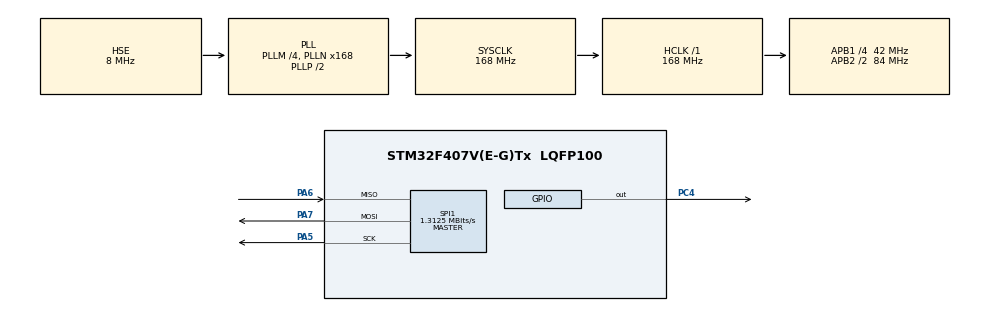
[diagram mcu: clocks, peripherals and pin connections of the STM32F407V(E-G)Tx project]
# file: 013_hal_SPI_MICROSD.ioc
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FATFS._MAX_SS=4096
FATFS._USE_LFN=1
Mcu.Family=STM32F4
Mcu.Name=STM32F407V(E-G)Tx
Mcu.Package=LQFP100
NVIC.PriorityGroup=NVIC_PRIORITYGROUP_4
PA13.Mode=Serial_Wire
PA13.Signal=SYS_JTMS-SWDIO
PA14.Mode=Serial_Wire
PA14.Signal=SYS_JTCK-SWCLK
PA5.Mode=Full_Duplex_Master
PA5.Signal=SPI1_SCK
PA6.Mode=Full_Duplex_Master
PA6.Signal=SPI1_MISO
PA7.Mode=Full_Duplex_Master
PA7.Signal=SPI1_MOSI
PC4.Signal=GPIO_Output
PH0-OSC_IN.Mode=HSE-External-Oscillator
PH0-OSC_IN.Signal=RCC_OSC_IN
PH1-OSC_OUT.Mode=HSE-External-Oscillator
PH1-OSC_OUT.Signal=RCC_OSC_OUT
ProjectManager.HeapSize=0x200
ProjectManager.StackSize=0x400
ProjectManager.TargetToolchain=STM32CubeIDE
RCC.48MHZClocksFreq_Value=84000000
RCC.AHBFreq_Value=168000000
RCC.APB1CLKDivider=RCC_HCLK_DIV4
RCC.APB1Freq_Value=42000000
RCC.APB1TimFreq_Value=84000000
RCC.APB2CLKDivider=RCC_HCLK_DIV2
RCC.APB2Freq_Value=84000000
RCC.APB2TimFreq_Value=168000000
RCC.CortexFreq_Value=168000000
RCC.HCLKFreq_Value=168000000
RCC.HSE_VALUE=8000000
RCC.HSI_VALUE=16000000
RCC.LSE_VALUE=32768
RCC.PLLM=4
RCC.PLLN=168
RCC.PLLSourceVirtual=RCC_PLLSOURCE_HSE
RCC.SYSCLKFreq_VALUE=168000000
RCC.SYSCLKSource=RCC_SYSCLKSOURCE_PLLCLK
RCC.VCOOutputFreq_Value=336000000
SPI1.BaudRatePrescaler=SPI_BAUDRATEPRESCALER_64
SPI1.CalculateBaudRate=1.3125 MBits/s
SPI1.Direction=SPI_DIRECTION_2LINES
SPI1.Mode=SPI_MODE_MASTER
SPI1.VirtualType=VM_MASTER
VP_FATFS_VS_Generic.Mode=User_defined
board=custom

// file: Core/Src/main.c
/* USER CODE BEGIN Header */
/**
  ******************************************************************************
  * @file           : main.c
  * @brief          : Main program body
  ******************************************************************************
  * @attention
  *
  * Copyright (c) 2023 STMicroelectronics.
  * All rights reserved.
  *
  * This software is licensed under terms that can be found in the LICENSE file
  * in the root directory of this software component.
  * If no LICENSE file comes with this software, it is provided AS-IS.
  *
  ******************************************************************************
  */
/* USER CODE END Header */
#include "main.h"
#include "fatfs.h"

/* USER CODE BEGIN Includes */

#include "fatfs_sd.h"
#include "string.h"
// FATFS -> Target -> user_diskio.c de degişiklikler yaptık ,fatfs_sd ile bagladık fatfs_sd de yapılacak her şey şimdi

/* USER CODE END Includes */

SPI_HandleTypeDef hspi1;

/* USER CODE BEGIN PV */

// CS_CONTROL = PC4 olarak sectik // active ,inactive yaparken kullanıyoruz ss1,ss2,ss3,ss4 gibi düşün.
// SCK  = PA5 // clock
// MISO = PA6 // master in ,slave out ,slave den master a gönderme yapılır
// MOSI = PA7 // master ouy ,slave in ,master den slave e gönderme yapılır

FATFS fs; // dosya sistemi
FIL file; // dosya
FRESULT fresult; // dosya result'ı, store kısmı alanı olarak düşünülebilir, depolamayıda buffer[1024] içine atıcaz
char buffer[1024]; // dosyayı kayıt edecegemiz yer

UINT br,bw; // read,write yaparken count yapılacak variables
FATFS *pfs;
DWORD fre_clust;
uint32_t total,free_space;

/* USER CODE END PV */

void SystemClock_Config(void);
static void MX_GPIO_Init(void);
static void MX_SPI1_Init(void);

/* USER CODE BEGIN 0 */

// https://controllerstech.com/sd-card-using-spi-in-stm32/  herşey var burda
int buffersize(char *buf){
	int i=0;
	while(*buf++ != '\0'){
		i++;
	}
	return i;
}

void bufferclear(void){
	for(int i=0;i<1024;i++){
		buffer[i]='\0';
	}
}

/* USER CODE END 0 */

int main(void)
{

  /* MCU Configuration--------------------------------------------------------*/

  /* Reset of all peripherals, Initializes the Flash interface and the Systick. */
  HAL_Init();

  /* Configure the system clock */
  SystemClock_Config();

  /* Initialize all configured peripherals */
  MX_GPIO_Init();
  MX_SPI1_Init();
  MX_FATFS_Init();
  /* USER CODE BEGIN 2 */

  fresult= f_mount(&fs,"",0);
  f_getfree("", &fre_clust, &pfs);
  total=(uint32_t)((pfs->n_fatent -2) * pfs->csize * 0.5);
  free_space=(uint32_t)(fre_clust * pfs->csize * 0.5);

  fresult = f_open(&file, "myFirstFile.txt",FA_CREATE_ALWAYS | FA_WRITE | FA_READ);
  f_puts("Merhaba bu bir txt kayit denemesidir",&file);
  fresult=f_close(&file);

  /* USER CODE END 2 */

  /* Infinite loop */
  while (1)
  {

  }
}

void SystemClock_Config(void)
{
  RCC_OscInitTypeDef RCC_OscInitStruct = {0};
  RCC_ClkInitTypeDef RCC_ClkInitStruct = {0};

  /** Configure the main internal regulator output voltage
  */
  __HAL_RCC_PWR_CLK_ENABLE();
  __HAL_PWR_VOLTAGESCALING_CONFIG(PWR_REGULATOR_VOLTAGE_SCALE1);

  /** Initializes the RCC Oscillators according to the specified parameters
  * in the RCC_OscInitTypeDef structure.
  */
  RCC_OscInitStruct.OscillatorType = RCC_OSCILLATORTYPE_HSE;
  RCC_OscInitStruct.HSEState = RCC_HSE_ON;
  RCC_OscInitStruct.PLL.PLLState = RCC_PLL_ON;
  RCC_OscInitStruct.PLL.PLLSource = RCC_PLLSOURCE_HSE;
  RCC_OscInitStruct.PLL.PLLM = 4;
  RCC_OscInitStruct.PLL.PLLN = 168;
  RCC_OscInitStruct.PLL.PLLP = RCC_PLLP_DIV2;
  RCC_OscInitStruct.PLL.PLLQ = 4;
  if (HAL_RCC_OscConfig(&RCC_OscInitStruct) != HAL_OK)
  {
    Error_Handler();
  }

  /** Initializes the CPU, AHB and APB buses clocks
  */
  RCC_ClkInitStruct.ClockType = RCC_CLOCKTYPE_HCLK|RCC_CLOCKTYPE_SYSCLK
                              |RCC_CLOCKTYPE_PCLK1|RCC_CLOCKTYPE_PCLK2;
  RCC_ClkInitStruct.SYSCLKSource = RCC_SYSCLKSOURCE_PLLCLK;
  RCC_ClkInitStruct.AHBCLKDivider = RCC_SYSCLK_DIV1;
  RCC_ClkInitStruct.APB1CLKDivider = RCC_HCLK_DIV4;
  RCC_ClkInitStruct.APB2CLKDivider = RCC_HCLK_DIV2;

  if (HAL_RCC_ClockConfig(&RCC_ClkInitStruct, FLASH_LATENCY_5) != HAL_OK)
  {
    Error_Handler();
  }
}

static void MX_SPI1_Init(void)
{

  /* SPI1 parameter configuration*/
  hspi1.Instance = SPI1;
  hspi1.Init.Mode = SPI_MODE_MASTER;
  hspi1.Init.Direction = SPI_DIRECTION_2LINES;
  hspi1.Init.DataSize = SPI_DATASIZE_8BIT;
  hspi1.Init.CLKPolarity = SPI_POLARITY_LOW;
  hspi1.Init.CLKPhase = SPI_PHASE_1EDGE;
  hspi1.Init.NSS = SPI_NSS_SOFT;
  hspi1.Init.BaudRatePrescaler = SPI_BAUDRATEPRESCALER_64;
  hspi1.Init.FirstBit = SPI_FIRSTBIT_MSB;
  hspi1.Init.TIMode = SPI_TIMODE_DISABLE;
  hspi1.Init.CRCCalculation = SPI_CRCCALCULATION_DISABLE;
  hspi1.Init.CRCPolynomial = 10;
  if (HAL_SPI_Init(&hspi1) != HAL_OK)
  {
    Error_Handler();
  }

}

static void MX_GPIO_Init(void)
{
  GPIO_InitTypeDef GPIO_InitStruct = {0};

  /* GPIO Ports Clock Enable */
  __HAL_RCC_GPIOH_CLK_ENABLE();
  __HAL_RCC_GPIOA_CLK_ENABLE();
  __HAL_RCC_GPIOC_CLK_ENABLE();

  /*Configure GPIO pin Output Level */
  HAL_GPIO_WritePin(GPIOC, GPIO_PIN_4, GPIO_PIN_RESET);

  /*Configure GPIO pin : PC4 */
  GPIO_InitStruct.Pin = GPIO_PIN_4;
  GPIO_InitStruct.Mode = GPIO_MODE_OUTPUT_PP;
  GPIO_InitStruct.Pull = GPIO_NOPULL;
  GPIO_InitStruct.Speed = GPIO_SPEED_FREQ_LOW;
  HAL_GPIO_Init(GPIOC, &GPIO_InitStruct);

}

void Error_Handler(void)
{
  __disable_irq();
  while (1)
  {
  }
}
